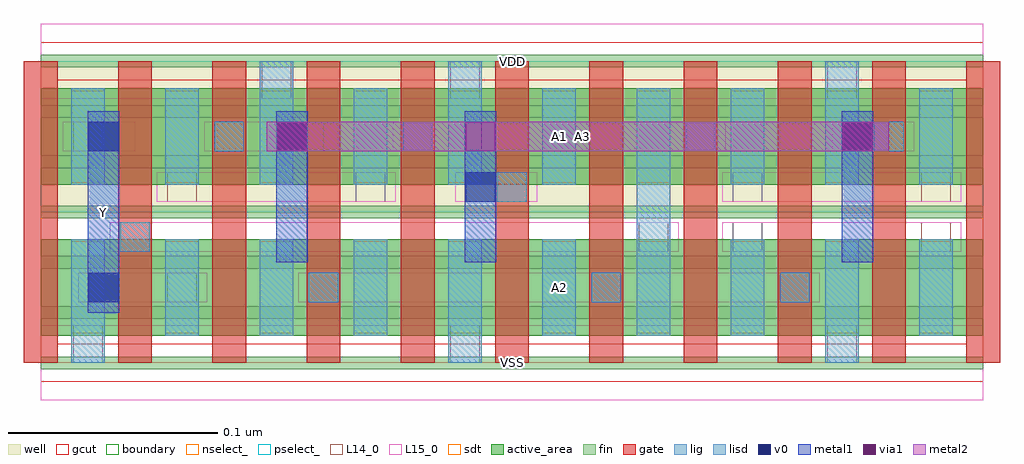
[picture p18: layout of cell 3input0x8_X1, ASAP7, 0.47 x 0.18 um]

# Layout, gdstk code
import gdstk
lib = gdstk.Library(unit=1e-6, precision=2.5e-10)
def R(c, l, rs):  # rectangles x0, y0, x1, y1
    for r in rs: c.add(gdstk.rectangle(r[:2], r[2:], *l))
def A(c, l, x, y, w, h, nx, ny, dx, dy):  # array of equal rectangles
    R(c, l, [(x+i*dx, y+j*dy, x+i*dx+w, y+j*dy+h) for i in range(nx) for j in range(ny)])
def P(c, l, *ps):  # polygons
    for p in ps: c.add(gdstk.Polygon(p, *l))
well = (1, 0)
fin = (2, 0)
gate = (7, 0)
gcut = (10, 0)
active_area = (11, 0)
nselect_ = (12, 0)
pselect_ = (13, 0)
L14_0 = (14, 0)
L15_0 = (15, 0)
lig = (16, 0)
lisd = (17, 0)
v0 = (18, 0)
metal1 = (19, 0)
metal2 = (20, 0)
via1 = (21, 0)
sdt = (88, 0)
boundary = (100, 0)

c_3input0x8_x1 = lib.new_cell('3input0x8_X1')
R(c_3input0x8_x1, well, [(0,0.072,0.45,0.144)])
A(c_3input0x8_x1, fin, 0, -0.003, 0.45, 0.006, 1, 7, 0, 0.024)
A(c_3input0x8_x1, gate, -0.008, 0, 0.016, 0.144, 11, 1, 0.045, 0)
P(c_3input0x8_x1, gcut, [(0,-0.009),(0,0),(-0.008,0),(-0.008,0.135),(0.008,0.135),(0.008,0.009),(0.442,0.009),(0.442,0.135),(-0.008,0.135),(-0.008,0.144),(0,0.144),(0,0.153),(0.45,0.153),(0.45,0.144),(0.458,0.144),(0.458,0),(0.45,0),(0.45,-0.009)])
R(c_3input0x8_x1, active_area, [(0,0.013,0.45,0.059), (0,0.085,0.45,0.131)])
R(c_3input0x8_x1, nselect_, [(0,0,0.45,0.072)])
R(c_3input0x8_x1, pselect_, [(0,0.072,0.45,0.144)])
A(c_3input0x8_x1, L14_0, 0.0155, 0, 0.014, 0.018, 3, 1, 0.18, 0)
R(c_3input0x8_x1, L14_0, [(0.0605,0.029,0.0745,0.043), (0.128,0.029,0.142,0.043), (0.263,0.029,0.277,0.043), (0.353,0.029,0.367,0.043), (0.038,0.053,0.052,0.067), (0.2855,0.053,0.2995,0.067), (0.3305,0.053,0.3445,0.067), (0.4205,0.053,0.4345,0.067), (0.0605,0.077,0.0745,0.091), (0.1505,0.077,0.1645,0.091), (0.218,0.077,0.232,0.091), (0.3305,0.077,0.3445,0.091), (0.4205,0.077,0.4345,0.091), (0.0155,0.101,0.0295,0.115), (0.083,0.101,0.097,0.115), (0.173,0.101,0.187,0.115), (0.308,0.101,0.322,0.115), (0.398,0.101,0.412,0.115), (0.1055,0.126,0.1195,0.144), (0.1955,0.126,0.2095,0.144), (0.3755,0.126,0.3895,0.144)])
R(c_3input0x8_x1, L15_0, [(0,-0.018,0.45,0.018), (0.018,0.029,0.0795,0.043), (0.123,0.029,0.372,0.043), (0.033,0.053,0.3045,0.067), (0.3255,0.053,0.4395,0.067), (0.0555,0.077,0.1695,0.091), (0.198,0.077,0.237,0.091), (0.3255,0.077,0.4395,0.091), (0.0105,0.101,0.045,0.115), (0.078,0.101,0.135,0.115), (0.168,0.101,0.327,0.115), (0.378,0.101,0.417,0.115), (0,0.126,0.45,0.162)])
R(c_3input0x8_x1, lig, [(0.128,0.029,0.142,0.043), (0.263,0.029,0.277,0.043), (0.353,0.029,0.367,0.043), (0.038,0.053,0.052,0.067), (0.218,0.077,0.232,0.091), (0.083,0.101,0.097,0.115), (0.173,0.101,0.187,0.115), (0.308,0.101,0.322,0.115), (0.398,0.101,0.412,0.115)])
A(c_3input0x8_x1, lisd, 0.0145, 0, 0.016, 0.059, 3, 1, 0.18, 0)
A(c_3input0x8_x1, lisd, 0.0595, 0.013, 0.016, 0.046, 3, 1, 0.045, 0)
A(c_3input0x8_x1, lisd, 0.2395, 0.013, 0.016, 0.046, 3, 1, 0.09, 0)
A(c_3input0x8_x1, lisd, 0.0595, 0.085, 0.016, 0.046, 5, 1, 0.09, 0)
R(c_3input0x8_x1, lisd, [(0.2845,0.013,0.3005,0.131), (0.0145,0.085,0.0305,0.131), (0.1045,0.085,0.1205,0.144), (0.1945,0.085,0.2105,0.144), (0.3745,0.085,0.3905,0.144)])
R(c_3input0x8_x1, v0, [(0.023,0.029,0.037,0.043), (0.203,0.077,0.217,0.091), (0.023,0.101,0.037,0.115), (0.113,0.101,0.127,0.115), (0.383,0.101,0.397,0.115)])
R(c_3input0x8_x1, metal1, [(0.0225,0.024,0.0375,0.12), (0.1125,0.048,0.1275,0.12), (0.2025,0.048,0.2175,0.12), (0.3825,0.048,0.3975,0.12)])
R(c_3input0x8_x1, metal2, [(0.108,0.101,0.405,0.115)])
R(c_3input0x8_x1, via1, [(0.113,0.101,0.127,0.115), (0.203,0.101,0.217,0.115), (0.383,0.101,0.397,0.115)])
A(c_3input0x8_x1, sdt, 0.0145, 0.014, 0.016, 0.044, 10, 2, 0.045, 0.072)
R(c_3input0x8_x1, boundary, [(0,0,0.45,0.144)])
c_3input0x8_x1.add(gdstk.Label('VSS', (0.225,0), layer=15, texttype=251))
c_3input0x8_x1.add(gdstk.Label('VDD', (0.225,0.144), layer=15, texttype=251))
c_3input0x8_x1.add(gdstk.Label('A1', (0.2475,0.108), layer=15, texttype=251))
c_3input0x8_x1.add(gdstk.Label('VSS', (0.225,0), layer=15, texttype=251))
c_3input0x8_x1.add(gdstk.Label('VDD', (0.225,0.144), layer=15, texttype=251))
c_3input0x8_x1.add(gdstk.Label('VSS', (0.225,0), layer=15, texttype=251))
c_3input0x8_x1.add(gdstk.Label('VDD', (0.225,0.144), layer=15, texttype=251))
c_3input0x8_x1.add(gdstk.Label('A2', (0.2475,0.036), layer=15, texttype=251))
c_3input0x8_x1.add(gdstk.Label('VSS', (0.225,0), layer=15, texttype=251))
c_3input0x8_x1.add(gdstk.Label('VDD', (0.225,0.144), layer=15, texttype=251))
c_3input0x8_x1.add(gdstk.Label('VSS', (0.225,0), layer=3, texttype=251))
c_3input0x8_x1.add(gdstk.Label('VSS', (0.225,0), layer=3, texttype=251))
c_3input0x8_x1.add(gdstk.Label('VSS', (0.225,0), layer=3, texttype=251))
c_3input0x8_x1.add(gdstk.Label('VSS', (0.225,0), layer=3, texttype=251))
c_3input0x8_x1.add(gdstk.Label('VDD', (0.225,0.144), layer=1, texttype=251))
c_3input0x8_x1.add(gdstk.Label('VDD', (0.225,0.144), layer=1, texttype=251))
c_3input0x8_x1.add(gdstk.Label('VDD', (0.225,0.144), layer=1, texttype=251))
c_3input0x8_x1.add(gdstk.Label('VDD', (0.225,0.144), layer=1, texttype=251))
c_3input0x8_x1.add(gdstk.Label('Y', (0.03,0.072), layer=19, texttype=251))
c_3input0x8_x1.add(gdstk.Label('A3', (0.2588,0.108), layer=20, texttype=251))

lib.write_gds('3input0x8_X1.gds')
